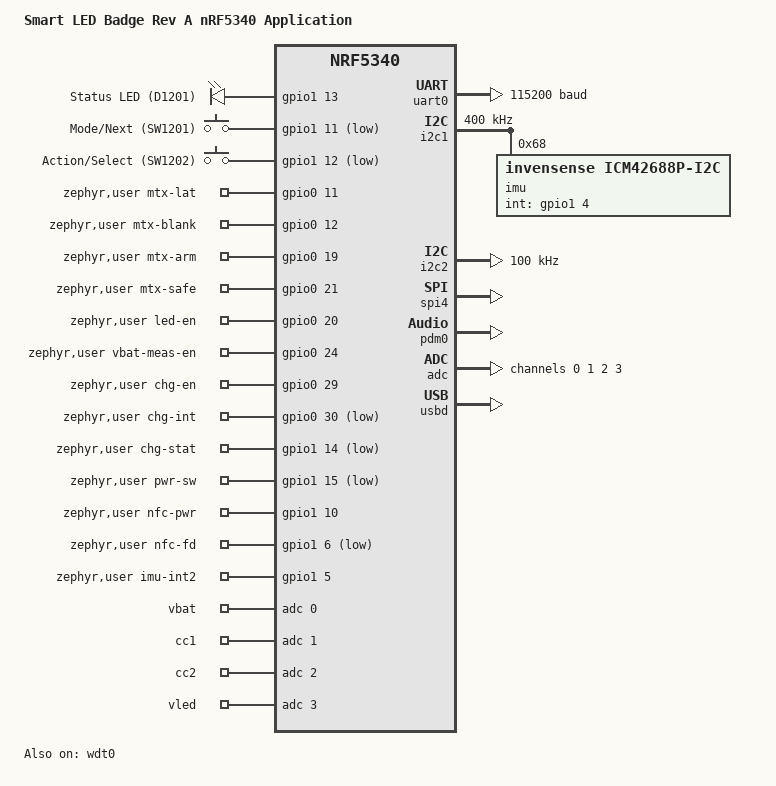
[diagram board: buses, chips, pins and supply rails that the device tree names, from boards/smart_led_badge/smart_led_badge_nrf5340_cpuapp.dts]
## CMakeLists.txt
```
# SPDX-License-Identifier: MIT

cmake_minimum_required(VERSION 3.20.0)

# Project drivers (Kconfig, devicetree bindings, sources) as a Zephyr module.
list(APPEND ZEPHYR_EXTRA_MODULES ${CMAKE_CURRENT_SOURCE_DIR}/src/drivers)

find_package(Zephyr REQUIRED HINTS $ENV{ZEPHYR_BASE})
project(smart_led_badge LANGUAGES C CXX)

target_sources(app PRIVATE
	src/main.cpp
	src/app/bringup.cpp
	src/services/test_pattern.cpp
    src/services/artwork_store.cpp
	src/services/qr.cpp
	src/services/ndef.cpp
	src/services/ntag.cpp
	src/platform/nfc_transport.cpp
)
add_subdirectory(lib/qrcodegen)
target_link_libraries(app PRIVATE badge_qrcodegen)
target_sources_ifdef(CONFIG_APP_NFC app PRIVATE src/app/nfc.cpp)
target_sources_ifdef(CONFIG_APP_NFC app PRIVATE src/services/url_update.cpp)
target_sources_ifdef(CONFIG_APP_NFC app PRIVATE src/services/nfc_session.cpp)
target_sources_ifdef(CONFIG_APP_BLE app PRIVATE src/app/ble.cpp src/services/ble_protocol.cpp)
target_sources_ifdef(CONFIG_APP_AUDIO app PRIVATE src/app/audio_runtime.cpp
 src/platform/audio_crypto.cpp src/services/audio.cpp src/services/adpcm.cpp
 src/services/recording.cpp)
target_sources_ifdef(CONFIG_APP_MOTION app PRIVATE src/app/motion_runtime.cpp src/services/motion.cpp)
target_sources_ifdef(CONFIG_DISPLAY app PRIVATE src/app/display_demo.cpp)
target_sources_ifdef(CONFIG_APP_AUDIO_SCREENING app PRIVATE
	src/app/audio_screening.cpp src/services/audio.cpp src/services/buttons.cpp)
if(CONFIG_APP_PROTOTYPE)
	# Read sysbuild overrides too; a link change must not retain an old cache value.
	zephyr_get(BADGE_QR_LINK)
	zephyr_get(BADGE_QR_ENV_FILE)
	if(NOT DEFINED BADGE_QR_LINK)
		set(BADGE_QR_LINK "PORTFOLIO")
	endif()
	if(NOT DEFINED BADGE_QR_ENV_FILE)
		set(BADGE_QR_ENV_FILE "${CMAKE_CURRENT_SOURCE_DIR}/../.env")
	endif()
	file(TO_CMAKE_PATH "${BADGE_QR_ENV_FILE}" BADGE_QR_ENV_FILE)
	set(default_url_script "${CMAKE_CURRENT_SOURCE_DIR}/../scripts/qr/configure_default_url.py")
	set(default_url_header "${CMAKE_CURRENT_BINARY_DIR}/generated/badge/default_url.hpp")
	# Watch creation/deletion as well as edits without making a missing .env
	# an always-dirty Ninja dependency in public/CI builds.
	file(GLOB qr_env_files CONFIGURE_DEPENDS LIST_DIRECTORIES false "${BADGE_QR_ENV_FILE}")
	set_property(DIRECTORY APPEND PROPERTY CMAKE_CONFIGURE_DEPENDS
		${qr_env_files} "${default_url_script}")
	execute_process(
		COMMAND ${PYTHON_EXECUTABLE} "${default_url_script}"
			--env-file "${BADGE_QR_ENV_FILE}" --link "${BADGE_QR_LINK}"
			--out-header "${default_url_header}"
		RESULT_VARIABLE default_url_result
	)
	if(NOT default_url_result EQUAL 0)
		message(FATAL_ERROR "Cannot configure the prototype QR default")
	endif()
	target_include_directories(app PRIVATE "${CMAKE_CURRENT_BINARY_DIR}/generated")
	target_compile_definitions(app PRIVATE BADGE_CONFIGURED_DEFAULT_URL=1)
	target_sources(app PRIVATE
		src/services/settings.cpp
		src/services/buttons.cpp
		src/services/boot_guard.cpp
		src/services/display_health.cpp
		src/services/text.cpp
		src/services/content.cpp
		src/platform/settings_store.cpp
		src/platform/boot_retention.cpp
		src/app/modes.cpp
		src/app/prototype.cpp
	)
endif()
if(CONFIG_APP_QR_SCREENING)
	if(CONFIG_APP_QR_CODES_FILE)
		set(qr_codes ${CONFIG_APP_QR_CODES_FILE})
	else()
		set(qr_codes src/services/qr_test_codes.cpp)
	endif()
	target_sources(app PRIVATE src/app/qr_screening.cpp ${qr_codes})
endif()

target_include_directories(app PRIVATE include)

# Strict warnings for application-owned sources only. These options apply to
# the `app` target and do not change how Zephyr or third-party modules build.
target_compile_options(app PRIVATE -Wextra -Werror)
```

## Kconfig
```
# SPDX-License-Identifier: MIT

menu "Smart LED Badge application"

module = APP
module-str = Application
source "subsys/logging/Kconfig.template.log_config"

config APP_QR_SCREENING
	bool "QR screening instead of the display test patterns"
	depends on DISPLAY
	help
	  Shows the host-generated QR test codes, stepped with Buttons 1 and
	  2, for the scan-reliability screening.

config APP_QR_CODES_FILE
	string "QR screening codes source file"
	depends on APP_QR_SCREENING
	help
	  Generated source with the QR screening codes, instead of the
	  committed representative codes. Used for codes that must stay out
	  of the repository, such as personal links; generate it with
	  scripts/qr/gen_qr_test_codes.py --out-cpp.

config APP_DISPLAY_BRIGHTNESS
	int "Display brightness after the test patterns"
	default 128
	range 1 255

config APP_AUDIO_SCREENING
	bool "Microphone level and spectrum bench"
	depends on DISPLAY && AUDIO_DMIC && !APP_PROTOTYPE && !APP_QR_SCREENING
	help
	  Explicit nRF5340 DK bench image. Captures volatile PCM for the local
	  meter/FFT only; no recording, storage or audio transmission commands.

config APP_AUDIO_CHANNEL
	int "Initial microphone PCM channel (left=0, right=1)"
	depends on APP_AUDIO_SCREENING || APP_AUDIO
	default 0
	range 0 1

config APP_AUDIO
 bool "P3 local visualization and authenticated audio service"
 default y if APP_BLE
	depends on APP_BLE && AUDIO_DMIC && HUB75_DISPLAY && !DEBUG_COREDUMP

config APP_AUDIO_RECORDING_BENCH
 bool "Bench-only recording before REC visibility acceptance"
 depends on APP_AUDIO && !DEBUG_COREDUMP
 help
   Development only. Recording stays disabled in normal/release builds
   pending indoor, outdoor and direct-sun REC visibility acceptance.

config APP_MOTION
	bool "P4 IMU fluid and automatic orientation"
	default y if APP_AUDIO
	depends on APP_AUDIO && SENSOR
	help
	  Bounded particle fluid and gravity orientation on the existing DK IMU.
	  Sensor-to-panel axis mapping remains a bench calibration dependency.

config APP_PROTOTYPE
	bool "Prototype badge application"
	default y if BOARD_NRF5340DK_NRF5340_CPUAPP
	depends on DISPLAY && !APP_QR_SCREENING
	select FLASH
	select FLASH_MAP
	select FLASH_PAGE_LAYOUT
	select NVS
	select NVS_DATA_CRC
	select SETTINGS
	select WATCHDOG
	select REBOOT
	select HWINFO

config APP_BRINGUP_CHECKS
	bool "Run optional peripheral bring-up checks"
	default y if !APP_PROTOTYPE
	help
	  Runs outside the normal badge loop. Off in the default prototype.

config APP_WATCHDOG_TEST_LOOP
	bool "Bench fault injection: reset until safe mode"
	depends on APP_PROTOTYPE
	help
	  Never enable in normal firmware. Stops the main-loop watchdog feed
	  before a healthy boot; safe mode resumes feeding after three resets.

config APP_NFC
	bool "Persistent NFC URL service"
	default y if APP_PROTOTYPE
	depends on APP_PROTOTYPE && I2C && GPIO

config APP_NFC_FD_LATENCY_US
	int "Field-detect latency margin in microseconds"
	default 500
	range 0 500
	help
	  The prototype value is an unmeasured margin, not a validated latency.
	  Measure field-detect timing before hardware acceptance.
	  This transport supports at most 500 us, reserving status-frame and
	  scheduling headroom within the fixed 5 ms EEPROM deadline. Higher
	  measured latencies require a different transport design, not a longer
	  write timeout. The portable engine rejects unsupported values before I/O.

config APP_NFC_DEBUG_COMMANDS
	bool "Debug-link NFC provisioning and URL commands"
	depends on APP_NFC
	help
	  Explicit development command interface. No irreversible configuration
	  locks are supported. Credentials remain transient and are never logged.

config APP_BLE
	bool "Prototype BLE configuration service"
	depends on APP_PROTOTYPE && APP_NFC && BT && BT_PERIPHERAL
	depends on BT_SMP && BT_SETTINGS && BT_SMP_SC_ONLY && BT_SMP_ENFORCE_MITM
	depends on BT_SMP_APP_PAIRING_ACCEPT
	help
	  Enabled through the matching sysbuild BLE configuration, which also
	  builds the network-core radio. One authenticated client; settings are
	  applied asynchronously and read back before reporting success.

endmenu

source "Kconfig.zephyr"
```

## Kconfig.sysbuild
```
# SPDX-License-Identifier: MIT

choice BOOTLOADER
	default BOOTLOADER_MCUBOOT if SOC_NRF5340_CPUAPP
endchoice

choice MCUBOOT_MODE
	default MCUBOOT_MODE_SWAP_USING_MOVE if SOC_NRF5340_CPUAPP
endchoice

# NCS v3.4.1 still supports PM on nRF53; deliberately opt in to the
# committed static layout rather than use the SDK's default DTS partitioning.
config PARTITION_MANAGER
	default y if SOC_NRF5340_CPUAPP

config BADGE_BLE
	bool "Build prototype BLE and network-core controller"
	depends on SOC_NRF5340_CPUAPP

config NRF_DEFAULT_IPC_RADIO
	default y if BADGE_BLE

config NETCORE_IPC_RADIO_BT_HCI_IPC
	default y if BADGE_BLE

source "share/sysbuild/Kconfig"
```

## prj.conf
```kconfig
# SPDX-License-Identifier: MIT

# C++17 application code. Exceptions and RTTI are disabled by project policy
# (see docs/firmware.md). They are unavailable with Zephyr's minimal C++
# library; the explicit assignments keep them off if a full C++ library is
# selected later.
CONFIG_CPP=y
CONFIG_STD_CPP17=y
CONFIG_CPP_EXCEPTIONS=n
CONFIG_CPP_RTTI=n

# Development logging over SEGGER RTT.
CONFIG_LOG=y
CONFIG_USE_SEGGER_RTT=y
CONFIG_LOG_BACKEND_RTT=y
CONFIG_LOG_BACKEND_UART=n

# Static application frames and QR/settings validation use bounded stack buffers.
CONFIG_MAIN_STACK_SIZE=16384
```

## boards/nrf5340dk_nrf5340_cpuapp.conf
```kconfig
# SPDX-License-Identifier: MIT

# HUB75 bench panel (zephyr,display in the DK overlay).
CONFIG_DISPLAY=y

# Module checks: IMU (I2C, sensor API), NFC tag (raw I2C), PDM microphone.
CONFIG_I2C=y
CONFIG_SENSOR=y
CONFIG_AUDIO=y
CONFIG_AUDIO_DMIC=y
```

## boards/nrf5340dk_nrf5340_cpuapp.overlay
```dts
/*
 * SPDX-License-Identifier: MIT
 *
 * nRF5340 DK bench: puts the Rev A pin roles on the DK where the DK allows, so
 * firmware written on the bench moves to the badge with a board change only.
 *
 * - SPIM4 on its dedicated high-speed pins P0.08/P0.09/P0.10, as on Rev A. The
 *   DK board puts it on the Arduino SPI pins (P1.13-P1.15, chip select P1.12),
 *   which the bench uses for the HUB75 panel.
 * - Matrix LAT P0.11 and BLANK P0.12 as on Rev A, plus a frame marker on P0.26
 *   (Arduino A5) for the logic analyzer.
 * - I2C1 with SCL on P1.02 and SDA on P1.03 as on Rev A; the DK board has them
 *   the other way round.
 * - Buttons 3 and 4 (P0.08/P0.09) removed: those pins carry the matrix SPI.
 *   Leave the buttons unpressed while the matrix runs.
 * - UART1 stays disabled. Its pins are the interface MCU's serial port 0
 *   (VCOM0 on the board): RXD P1.00, TXD P1.01, CTS P0.10, RTS P0.11. Logging
 *   uses RTT.
 * - The network core no longer gets P0.10/P0.11 forwarded for that port's flow
 *   control. Otherwise any image that starts the network core (Bluetooth, for
 *   example) would take matrix MISO and LAT from the application core. P1.00 and
 *   P1.01 stay forwarded for the network core's UART.
 * - HUB75 bench panel as the display (bench only; the badge has its own
 *   matrix): R1/G1/B1/CLK/LAT on P1.11-P1.15, OE on P1.08, row address A-E on
 *   P0.04-P0.07 and P0.25, through 5 V buffers. TIMER0 times its rows, so
 *   TIMER1/TIMER2 stay free for the Rev A matrix timing.
 * - IMU (INT1 P1.04), PDM microphone (P1.07/P1.09) and NFC field detect
 *   (P1.06) on their Rev A pins. The NFC tag shares the IMU's I2C1 bus here,
 *   because its Rev A bus pins (P1.00/P1.01) are the debugger's VCOM0.
 */

#include <zephyr/dt-bindings/sensor/icm42688.h>

/ {
	chosen {
		zephyr,display = &hub75;
	};

	hub75: hub75 {
		compatible = "smartledbadge,hub75";
		width = <32>;
		height = <32>;
		panel-columns = <64>;
		r1-gpios = <&gpio1 11 GPIO_ACTIVE_HIGH>;
		g1-gpios = <&gpio1 12 GPIO_ACTIVE_HIGH>;
		b1-gpios = <&gpio1 13 GPIO_ACTIVE_HIGH>;
		clk-gpios = <&gpio1 14 GPIO_ACTIVE_HIGH>;
		lat-gpios = <&gpio1 15 GPIO_ACTIVE_HIGH>;
		oe-gpios = <&gpio1 8 GPIO_ACTIVE_HIGH>; /* high = panel off */
		addr-gpios = <&gpio0 4 GPIO_ACTIVE_HIGH>, <&gpio0 5 GPIO_ACTIVE_HIGH>,
			     <&gpio0 6 GPIO_ACTIVE_HIGH>, <&gpio0 7 GPIO_ACTIVE_HIGH>,
			     <&gpio0 25 GPIO_ACTIVE_HIGH>;
		timer = <&timer0>;
		/* Bench panel shifts its columns in the opposite order (seen on the
		 * orientation pattern, 2026-10-11). */
		mirror-x;
	};

	aliases {
		/delete-property/ sw2;
		/delete-property/ sw3;
	};

	nrf-gpio-forwarder {
		uart {
			gpios = <&gpio1 1 0>, <&gpio1 0 0>;
		};
	};

	zephyr,user {
		mtx-lat-gpios = <&gpio0 11 GPIO_ACTIVE_HIGH>;
		mtx-blank-gpios = <&gpio0 12 GPIO_ACTIVE_HIGH>; /* high = columns blanked */
		bench-frame-gpios = <&gpio0 26 GPIO_ACTIVE_HIGH>; /* analyzer frame marker */
		/* NFC Tag 2 click (NT3H2111, 0x55) shares the IMU bus on the DK; on
		 * Rev A it has its own bus and power switch. */
		ntag-i2c-bus = <&i2c1>;
		nfc-fd-gpios = <&gpio1 6 GPIO_ACTIVE_LOW>;
	};
};

/delete-node/ &button2;
/delete-node/ &button3;

&pinctrl {
	spi4_default: spi4_default {
		group1 {
			psels = <NRF_PSEL(SPIM_SCK, 0, 8)>,
				<NRF_PSEL(SPIM_MOSI, 0, 9)>,
				<NRF_PSEL(SPIM_MISO, 0, 10)>;
		};
	};

	spi4_sleep: spi4_sleep {
		group1 {
			psels = <NRF_PSEL(SPIM_SCK, 0, 8)>,
				<NRF_PSEL(SPIM_MOSI, 0, 9)>,
				<NRF_PSEL(SPIM_MISO, 0, 10)>;
			low-power-enable;
		};
	};

	i2c1_default: i2c1_default {
		group1 {
			psels = <NRF_PSEL(TWIM_SCL, 1, 2)>,
				<NRF_PSEL(TWIM_SDA, 1, 3)>;
		};
	};

	pdm0_default: pdm0_default {
		group1 {
			psels = <NRF_PSEL(PDM_CLK, 1, 7)>;
		};
		/* Pull-down so an unconnected DATA pin, and the half-cycle the mic
		 * leaves undriven, read as zero instead of floating. */
		group2 {
			psels = <NRF_PSEL(PDM_DIN, 1, 9)>;
			bias-pull-down;
		};
	};

	pdm0_sleep: pdm0_sleep {
		group1 {
			psels = <NRF_PSEL(PDM_CLK, 1, 7)>,
				<NRF_PSEL(PDM_DIN, 1, 9)>;
			low-power-enable;
		};
	};

	i2c1_sleep: i2c1_sleep {
		group1 {
			psels = <NRF_PSEL(TWIM_SCL, 1, 2)>,
				<NRF_PSEL(TWIM_SDA, 1, 3)>;
			low-power-enable;
		};
	};
};

&spi4 {
	/delete-property/ cs-gpios;
};

&i2c1 {
	clock-frequency = <I2C_BITRATE_FAST>;

	/* Same settings as the Rev A board. */
	imu: icm42688@68 {
		compatible = "invensense,icm42688p-i2c";
		reg = <0x68>;
		int-gpios = <&gpio1 4 GPIO_ACTIVE_HIGH>;
		accel-pwr-mode = <ICM42688_DT_ACCEL_LN>;
		accel-odr = <ICM42688_DT_ACCEL_ODR_100>;
		accel-fs = <ICM42688_DT_ACCEL_FS_2>;
		gyro-pwr-mode = <ICM42688_DT_GYRO_LN>;
		gyro-odr = <ICM42688_DT_GYRO_ODR_100>;
		gyro-fs = <ICM42688_DT_GYRO_FS_2000>;
	};
};

/* PDM microphone on the Rev A pins: CLK P1.07, DIN P1.09. */
&pdm0 {
	status = "okay";
	pinctrl-0 = <&pdm0_default>;
	pinctrl-1 = <&pdm0_sleep>;
	pinctrl-names = "default", "sleep";
};

&uart1 {
	status = "disabled";
};
```

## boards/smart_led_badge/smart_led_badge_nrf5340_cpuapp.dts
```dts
/*
 * Copyright (c) 2023 Raytac Corporation
 *
 * SPDX-License-Identifier: Apache-2.0
 *
 * Smart LED Badge Rev A, application core: Raytac MDBT53-P1M (nRF5340 QKAA).
 * Pins follow the Rev A schematic; see docs/hardware.md. Modified from
 * Zephyr's raytac_mdbt53_db_40 board for this board.
 */

/dts-v1/;
#include <nordic/nrf5340_cpuapp_qkaa.dtsi>
#include <zephyr/dt-bindings/gpio/nordic-nrf-gpio.h>
#include <zephyr/dt-bindings/input/input-event-codes.h>
#include <zephyr/dt-bindings/sensor/icm42688.h>
#include "smart_led_badge_nrf5340_cpuapp-pinctrl.dtsi"

/ {
	model = "Smart LED Badge Rev A nRF5340 Application";
	compatible = "smart-led-badge,rev-a-nrf5340-cpuapp";

	chosen {
		zephyr,console = &uart0;
		zephyr,shell-uart = &uart0;
		zephyr,bt-hci = &bt_hci_ipc0;
		zephyr,sram = &sram0_image;
		zephyr,flash = &flash0;
		zephyr,code-partition = &slot0_partition;
		zephyr,sram-secure-partition = &sram0_s;
		zephyr,sram-non-secure-partition = &sram0_ns;
	};

	leds {
		compatible = "gpio-leds";

		status_led: led_0 {
			gpios = <&gpio1 13 GPIO_ACTIVE_HIGH>;
			label = "Status LED (D1201)";
		};
	};

	buttons {
		compatible = "gpio-keys";

		btn_mode: button_0 {
			gpios = <&gpio1 11 (GPIO_PULL_UP | GPIO_ACTIVE_LOW)>;
			label = "Mode/Next (SW1201)";
			zephyr,code = <INPUT_KEY_0>;
		};

		btn_action: button_1 {
			gpios = <&gpio1 12 (GPIO_PULL_UP | GPIO_ACTIVE_LOW)>;
			label = "Action/Select (SW1202)";
			zephyr,code = <INPUT_KEY_1>;
		};
	};

	/*
	 * Board signals used by project drivers. Defaults with the MCU in reset
	 * come from board resistors: MTX_BLANK high, MTX_ARM low, LED_EN low,
	 * VBAT_MEAS_EN low, CHG_EN low (charging off).
	 */
	zephyr,user {
		mtx-lat-gpios = <&gpio0 11 GPIO_ACTIVE_HIGH>;
		mtx-blank-gpios = <&gpio0 12 GPIO_ACTIVE_HIGH>;  /* high = columns blanked */
		mtx-arm-gpios = <&gpio0 19 GPIO_ACTIVE_HIGH>;    /* low clears the scan-stall one-shot */
		mtx-safe-gpios = <&gpio0 21 GPIO_ACTIVE_HIGH>;   /* input: high = matrix forced off */
		led-en-gpios = <&gpio0 20 GPIO_ACTIVE_HIGH>;     /* TPS61023 EN (LED rail) */
		vbat-meas-en-gpios = <&gpio0 24 GPIO_ACTIVE_HIGH>;
		chg-en-gpios = <&gpio0 29 GPIO_ACTIVE_HIGH>;     /* CHG_EN: active = Q303 pulls CE low, charging allowed */
		chg-int-gpios = <&gpio0 30 GPIO_ACTIVE_LOW>;
		chg-stat-gpios = <&gpio1 14 GPIO_ACTIVE_LOW>;
		pwr-sw-gpios = <&gpio1 15 (GPIO_ACTIVE_LOW | GPIO_PULL_UP)>; /* active = switch ON */
		nfc-pwr-gpios = <&gpio1 10 (GPIO_ACTIVE_HIGH | NRF_GPIO_DRIVE_H0H1)>;
		nfc-fd-gpios = <&gpio1 6 GPIO_ACTIVE_LOW>;
		imu-int2-gpios = <&gpio1 5 GPIO_ACTIVE_HIGH>;

		io-channels = <&adc 0>, <&adc 1>, <&adc 2>, <&adc 3>;
		io-channel-names = "vbat", "cc1", "cc2", "vled";
	};

	aliases {
		led0 = &status_led;
		sw0 = &btn_mode;
		sw1 = &btn_action;
		watchdog0 = &wdt0;
		imu0 = &imu;
	};
};

&vregmain {
	regulator-initial-mode = <NRF5X_REG_MODE_DCDC>;
};

&vregradio {
	regulator-initial-mode = <NRF5X_REG_MODE_DCDC>;
};

/* VDDH = VDD (normal-voltage mode, DCCH not connected): VREGH stays disabled. */

&lfxo {
	load-capacitors = "internal";
	load-capacitance-picofarad = <9>;  /* CM7V-T1A, CL 9 pF */
};

/* P0.02/P0.03 (NFC1/NFC2) are spare GPIO pads; native NFC is unused. */
&uicr {
	nfct-pins-as-gpios;
};

&gpiote {
	status = "okay";
};

&gpio0 {
	status = "okay";
};

&gpio1 {
	status = "okay";
};

&uart0 {
	compatible = "nordic,nrf-uarte";
	status = "okay";
	current-speed = <115200>;
	pinctrl-0 = <&uart0_default>;
	pinctrl-1 = <&uart0_sleep>;
	pinctrl-names = "default", "sleep";
};

&i2c1 {
	compatible = "nordic,nrf-twim";
	status = "okay";
	clock-frequency = <I2C_BITRATE_FAST>;
	pinctrl-0 = <&i2c1_default>;
	pinctrl-1 = <&i2c1_sleep>;
	pinctrl-names = "default", "sleep";

	imu: icm42688@68 {
		compatible = "invensense,icm42688p-i2c";
		reg = <0x68>;
		int-gpios = <&gpio1 4 GPIO_ACTIVE_HIGH>;
		accel-pwr-mode = <ICM42688_DT_ACCEL_LN>;
		accel-odr = <ICM42688_DT_ACCEL_ODR_100>;
		accel-fs = <ICM42688_DT_ACCEL_FS_2>;
		gyro-pwr-mode = <ICM42688_DT_GYRO_LN>;
		gyro-odr = <ICM42688_DT_GYRO_ODR_100>;
		gyro-fs = <ICM42688_DT_GYRO_FS_2000>;
	};

	/* BQ25620 charger at 0x6B: project driver to be added. */
};

/* NTAG (NT3H2111) at 0x55 on its own bus: project driver to be added. */
&i2c2 {
	compatible = "nordic,nrf-twim";
	status = "okay";
	clock-frequency = <I2C_BITRATE_STANDARD>;
	pinctrl-0 = <&i2c2_default>;
	pinctrl-1 = <&i2c2_sleep>;
	pinctrl-names = "default", "sleep";
};

/* Matrix chain; LAT and BLANK are GPIOs driven through GPIOTE, no chip select. */
&spi4 {
	compatible = "nordic,nrf-spim";
	status = "okay";
	pinctrl-0 = <&spi4_default>;
	pinctrl-1 = <&spi4_sleep>;
	pinctrl-names = "default", "sleep";
};

&pdm0 {
	status = "okay";
	pinctrl-0 = <&pdm0_default>;
	pinctrl-1 = <&pdm0_sleep>;
	pinctrl-names = "default", "sleep";
};

&adc {
	status = "okay";
	#address-cells = <1>;
	#size-cells = <0>;

	/* VBAT: switched 47k/47k divider, 4.2 V -> 2.1 V; gain 1/4 x 0.6 V = 2.4 V full scale. */
	channel@0 {
		reg = <0>;
		zephyr,gain = "ADC_GAIN_1_4";
		zephyr,reference = "ADC_REF_INTERNAL";
		zephyr,acquisition-time = <ADC_ACQ_TIME(ADC_ACQ_TIME_MICROSECONDS, 10)>;
		zephyr,input-positive = <NRF_SAADC_AIN0>;
		zephyr,resolution = <12>;
	};

	/* CC1/CC2: ratio 0.107 behind the pass gate; gain 2 x 0.6 V = 0.3 V full scale. */
	channel@1 {
		reg = <1>;
		zephyr,gain = "ADC_GAIN_2";
		zephyr,reference = "ADC_REF_INTERNAL";
		zephyr,acquisition-time = <ADC_ACQ_TIME(ADC_ACQ_TIME_MICROSECONDS, 10)>;
		zephyr,input-positive = <NRF_SAADC_AIN1>;
		zephyr,resolution = <12>;
	};

	channel@2 {
		reg = <2>;
		zephyr,gain = "ADC_GAIN_2";
		zephyr,reference = "ADC_REF_INTERNAL";
		zephyr,acquisition-time = <ADC_ACQ_TIME(ADC_ACQ_TIME_MICROSECONDS, 10)>;
		zephyr,input-positive = <NRF_SAADC_AIN2>;
		zephyr,resolution = <12>;
	};

	/* VLED: 200k/4.7k (0.023); gain 4 x 0.6 V = 0.15 V full scale. */
	channel@3 {
		reg = <3>;
		zephyr,gain = "ADC_GAIN_4";
		zephyr,reference = "ADC_REF_INTERNAL";
		zephyr,acquisition-time = <ADC_ACQ_TIME(ADC_ACQ_TIME_MICROSECONDS, 10)>;
		zephyr,input-positive = <NRF_SAADC_AIN4>;
		zephyr,resolution = <12>;
	};
};

&wdt0 {
	status = "okay";
};

zephyr_udc0: &usbd {
	compatible = "nordic,nrf-usbd";
	status = "okay";
};

/* Default memory partitions (no external flash on Rev A; QSPI pins are spare). */
#include <nordic/nrf5340_cpuapp_partition.dtsi>
```

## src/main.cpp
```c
/*
 * SPDX-License-Identifier: MIT
 */

#include <zephyr/device.h>
#include <zephyr/devicetree.h>
#include <zephyr/kernel.h>
#include <zephyr/logging/log.h>

#include "badge/bringup.hpp"
#include "badge/display_demo.hpp"
#include "badge/qr_screening.hpp"
#include "badge/prototype.hpp"

LOG_MODULE_REGISTER(app, CONFIG_APP_LOG_LEVEL);

#if DT_HAS_CHOSEN(zephyr_display) && defined(CONFIG_DISPLAY) && !defined(CONFIG_APP_PROTOTYPE)
/* The display test patterns run in their own thread, so the module checks
 * below run while the display is refreshing. */
static void display_thread(void *, void *, void *)
{
	const struct device *display = DEVICE_DT_GET(DT_CHOSEN(zephyr_display));

	if (!device_is_ready(display)) {
		LOG_ERR("display %s not ready", display->name);
		return;
	}
#if defined(CONFIG_APP_QR_SCREENING)
	badge::run_qr_screening(display);
#else
	badge::run_display_demo(display);
#endif
}

K_THREAD_DEFINE(display_tid, 2048, display_thread, NULL, NULL, NULL, 7, 0, 0);
#endif

#if defined(CONFIG_APP_BRINGUP_CHECKS)
static void bringup_thread(void *, void *, void *)
{
	/* Allow the badge loop to start; self-checks cannot block its watchdog. */
	k_sleep(K_SECONDS(2));
	badge::run_bringup_checks();
	while (true) {
		k_sleep(K_SECONDS(5));
		badge::log_bringup_readings();
	}
}
K_THREAD_DEFINE(bringup_tid, 3072, bringup_thread, NULL, NULL, NULL, 8, 0, 0);
#endif

int main(void)
{
	LOG_INF("smart-led-badge starting on %s", CONFIG_BOARD_TARGET);

#if defined(CONFIG_APP_PROTOTYPE)
	badge::run_prototype();
#endif

	while (true) {
		k_sleep(K_SECONDS(5));
	}

	return 0;
}
```
